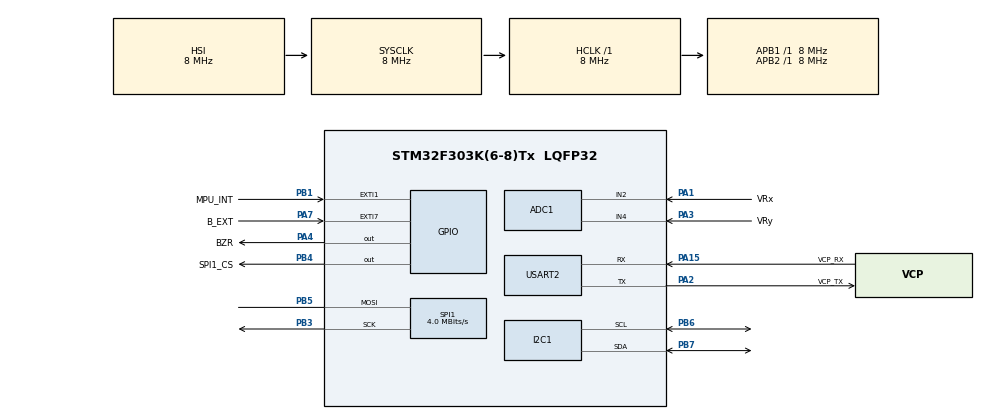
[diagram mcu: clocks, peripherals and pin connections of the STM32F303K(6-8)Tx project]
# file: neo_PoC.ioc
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ADC1.Channel-3\#ChannelRegularConversion=ADC_CHANNEL_2
ADC1.Channel-4\#ChannelRegularConversion=ADC_CHANNEL_4
ADC1.ContinuousConvMode=ENABLE
ADC1.DMAContinuousRequests=ENABLE
ADC1.EOCSelection=ADC_EOC_SEQ_CONV
ADC1.EnableInjectedConversion=DISABLE
ADC1.NbrOfConversion=2
ADC1.NbrOfConversionFlag=1
ADC1.Offset-3\#ChannelRegularConversion=0
ADC1.Offset-4\#ChannelRegularConversion=0
ADC1.OffsetNumber-3\#ChannelRegularConversion=ADC_OFFSET_NONE
ADC1.OffsetNumber-4\#ChannelRegularConversion=ADC_OFFSET_NONE
ADC1.Rank-3\#ChannelRegularConversion=1
ADC1.Rank-4\#ChannelRegularConversion=2
ADC1.SamplingTime-3\#ChannelRegularConversion=ADC_SAMPLETIME_61CYCLES_5
ADC1.SamplingTime-4\#ChannelRegularConversion=ADC_SAMPLETIME_61CYCLES_5
ADC1.SamplingTimeOPAMP-4\#ChannelRegularConversion=ADC_SAMPLETIME_4CYCLES_5
ADC1.SequencerNbRanks=2
ADC1.SubFamily=STM32F303x8
ADC1.master=1
Dma.ADC1.0.Direction=DMA_PERIPH_TO_MEMORY
Dma.ADC1.0.Instance=DMA1_Channel1
Dma.ADC1.0.MemDataAlignment=DMA_MDATAALIGN_HALFWORD
Dma.ADC1.0.MemInc=DMA_MINC_ENABLE
Dma.ADC1.0.Mode=DMA_CIRCULAR
Dma.ADC1.0.PeriphDataAlignment=DMA_PDATAALIGN_HALFWORD
Dma.ADC1.0.PeriphInc=DMA_PINC_DISABLE
Dma.ADC1.0.Priority=DMA_PRIORITY_LOW
Dma.I2C1_RX.1.Direction=DMA_PERIPH_TO_MEMORY
Dma.I2C1_RX.1.Instance=DMA1_Channel3
Dma.I2C1_RX.1.MemDataAlignment=DMA_MDATAALIGN_BYTE
Dma.I2C1_RX.1.MemInc=DMA_MINC_ENABLE
Dma.I2C1_RX.1.Mode=DMA_NORMAL
Dma.I2C1_RX.1.PeriphDataAlignment=DMA_PDATAALIGN_BYTE
Dma.I2C1_RX.1.PeriphInc=DMA_PINC_DISABLE
Dma.I2C1_RX.1.Priority=DMA_PRIORITY_MEDIUM
Dma.Request0=ADC1
Dma.Request1=I2C1_RX
I2C1.Timing=0x00201D2B
Mcu.Family=STM32F3
Mcu.Name=STM32F303K(6-8)Tx
Mcu.Package=LQFP32
NVIC.DMA1_Channel3_IRQn=true\:0\:0\:false\:false\:true\:true\:true\:true
NVIC.EXTI1_IRQn=true\:0\:0\:false\:false\:true\:true\:true\:true
NVIC.I2C1_ER_IRQn=true\:0\:0\:false\:false\:true\:true\:true\:true
NVIC.I2C1_EV_IRQn=true\:0\:0\:false\:false\:true\:true\:true\:true
NVIC.PriorityGroup=NVIC_PRIORITYGROUP_4
PA1.GPIO_Label=VRx
PA1.Mode=IN2-Single-Ended
PA1.Signal=ADC1_IN2
PA13.GPIO_Label=SWDIO
PA13.Mode=Serial_Wire
PA13.Signal=SYS_JTMS-SWDIO
PA14.GPIO_Label=SWCLK
PA14.Mode=Serial_Wire
PA14.Signal=SYS_JTCK-SWCLK
PA15.GPIO_Label=VCP_RX
PA15.Mode=Asynchronous
PA15.Signal=USART2_RX
PA2.GPIO_Label=VCP_TX
PA2.Mode=Asynchronous
PA2.Signal=USART2_TX
PA3.GPIO_Label=VRy
PA3.Mode=IN4-Single-Ended
PA3.Signal=ADC1_IN4
PA4.GPIO_Label=BZR
PA4.Signal=GPIO_Output
PA7.GPIO_Label=B_EXT
PA7.Signal=GPXTI7
PB1.GPIO_Label=MPU_INT
PB1.GPIO_ModeDefaultEXTI=GPIO_MODE_IT_RISING
PB1.GPIO_PuPd=GPIO_PULLDOWN
PB1.Signal=GPXTI1
PB3.Mode=Simplex_Bidirectional_Master
PB3.Signal=SPI1_SCK
PB4.GPIO_Label=SPI1_CS
PB4.Signal=GPIO_Output
PB5.Mode=Simplex_Bidirectional_Master
PB5.Signal=SPI1_MOSI
PB6.Mode=I2C
PB6.Signal=I2C1_SCL
PB7.Mode=I2C
PB7.Signal=I2C1_SDA
PF0\ /\ OSC_IN.GPIO_Label=MCO
PF0\ /\ OSC_IN.Mode=HSE-External-Clock-Source
PF0\ /\ OSC_IN.Signal=RCC_OSC_IN
ProjectManager.HeapSize=0x200
ProjectManager.StackSize=0x400
ProjectManager.TargetToolchain=STM32CubeIDE
RCC.AHBFreq_Value=8000000
RCC.APB1Freq_Value=8000000
RCC.APB2Freq_Value=8000000
RCC.CortexFreq_Value=8000000
RCC.HSE_VALUE=8000000
RCC.HSI_VALUE=8000000
RCC.PLLMUL=RCC_PLL_MUL4
RCC.SYSCLKFreq_VALUE=8000000
SPI1.CalculateBaudRate=4.0 MBits/s
SPI1.Direction=SPI_DIRECTION_1LINE
SPI1.Mode=SPI_MODE_MASTER
SPI1.VirtualType=VM_MASTER
USART2.VirtualMode-Asynchronous=VM_ASYNC
board=NUCLEO-F303K8

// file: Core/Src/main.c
/* USER CODE BEGIN Header */
/**
  ******************************************************************************
  * @file           : main.c
  * @brief          : Main program body
  ******************************************************************************
  * @attention
  *
  * Copyright (c) 2026 STMicroelectronics.
  * All rights reserved.
  *
  * This software is licensed under terms that can be found in the LICENSE file
  * in the root directory of this software component.
  * If no LICENSE file comes with this software, it is provided AS-IS.
  *
  ******************************************************************************
  */
/* USER CODE END Header */
#include "main.h"

/* USER CODE BEGIN Includes */
#include "joystick.h"
#include "mpu6500.h"
/* USER CODE END Includes */

ADC_HandleTypeDef hadc1;
DMA_HandleTypeDef hdma_adc1;

I2C_HandleTypeDef hi2c1;
DMA_HandleTypeDef hdma_i2c1_rx;

SPI_HandleTypeDef hspi1;

UART_HandleTypeDef huart2;

/* USER CODE BEGIN PV */
joystick_t joystick;
mpu6500_t mpu;
uint32_t interrupt_count = 0;
uint32_t dma_complete = 0;
/* USER CODE END PV */

void SystemClock_Config(void);
static void MX_GPIO_Init(void);
static void MX_DMA_Init(void);
static void MX_ADC1_Init(void);
static void MX_I2C1_Init(void);
static void MX_SPI1_Init(void);
static void MX_USART2_UART_Init(void);

int main(void)
{

  /* MCU Configuration--------------------------------------------------------*/

  /* Reset of all peripherals, Initializes the Flash interface and the Systick. */
  HAL_Init();

  /* Configure the system clock */
  SystemClock_Config();

  /* Initialize all configured peripherals */
  MX_GPIO_Init();
  MX_DMA_Init();
  MX_ADC1_Init();
  MX_I2C1_Init();
  MX_SPI1_Init();
  MX_USART2_UART_Init();
  /* USER CODE BEGIN 2 */
  if (joystick_init(&joystick, &hadc1) == HAL_ERROR) { /*if joystick init fails*/
	  while(1); // halt
  }

  HAL_Delay(1000); // wait for first ADC/DMA conversion to complete before calibration

  joystick_calibrate(&joystick);

  if (mpu6500_init(&mpu, &hi2c1) != HAL_OK) {
	  while(1); // halt
  }

  /* USER CODE END 2 */

  /* Infinite loop */
  /* USER CODE BEGIN WHILE */
  while (1)
  {
	  joystick_update(&joystick);

	  if (mpu.data_ready) {
	          mpu.data_ready = 0;
	          // Run complementary filter / tilt calculations for Gravity Maze here!
	      }

	  HAL_Delay(10);
    /* USER CODE END WHILE */

  }
}

void SystemClock_Config(void)
{
  RCC_OscInitTypeDef RCC_OscInitStruct = {0};
  RCC_ClkInitTypeDef RCC_ClkInitStruct = {0};
  RCC_PeriphCLKInitTypeDef PeriphClkInit = {0};

  /** Initializes the RCC Oscillators according to the specified parameters
  * in the RCC_OscInitTypeDef structure.
  */
  RCC_OscInitStruct.OscillatorType = RCC_OSCILLATORTYPE_HSI;
  RCC_OscInitStruct.HSIState = RCC_HSI_ON;
  RCC_OscInitStruct.HSICalibrationValue = RCC_HSICALIBRATION_DEFAULT;
  RCC_OscInitStruct.PLL.PLLState = RCC_PLL_ON;
  RCC_OscInitStruct.PLL.PLLSource = RCC_PLLSOURCE_HSI;
  RCC_OscInitStruct.PLL.PLLMUL = RCC_PLL_MUL4;
  if (HAL_RCC_OscConfig(&RCC_OscInitStruct) != HAL_OK)
  {
    Error_Handler();
  }

  /** Initializes the CPU, AHB and APB buses clocks
  */
  RCC_ClkInitStruct.ClockType = RCC_CLOCKTYPE_HCLK|RCC_CLOCKTYPE_SYSCLK
                              |RCC_CLOCKTYPE_PCLK1|RCC_CLOCKTYPE_PCLK2;
  RCC_ClkInitStruct.SYSCLKSource = RCC_SYSCLKSOURCE_HSI;
  RCC_ClkInitStruct.AHBCLKDivider = RCC_SYSCLK_DIV1;
  RCC_ClkInitStruct.APB1CLKDivider = RCC_HCLK_DIV1;
  RCC_ClkInitStruct.APB2CLKDivider = RCC_HCLK_DIV1;

  if (HAL_RCC_ClockConfig(&RCC_ClkInitStruct, FLASH_LATENCY_0) != HAL_OK)
  {
    Error_Handler();
  }
  PeriphClkInit.PeriphClockSelection = RCC_PERIPHCLK_I2C1|RCC_PERIPHCLK_ADC12;
  PeriphClkInit.Adc12ClockSelection = RCC_ADC12PLLCLK_DIV1;
  PeriphClkInit.I2c1ClockSelection = RCC_I2C1CLKSOURCE_HSI;
  if (HAL_RCCEx_PeriphCLKConfig(&PeriphClkInit) != HAL_OK)
  {
    Error_Handler();
  }
}

static void MX_ADC1_Init(void)
{

  ADC_MultiModeTypeDef multimode = {0};
  ADC_ChannelConfTypeDef sConfig = {0};

  /** Common config
  */
  hadc1.Instance = ADC1;
  hadc1.Init.ClockPrescaler = ADC_CLOCK_ASYNC_DIV1;
  hadc1.Init.Resolution = ADC_RESOLUTION_12B;
  hadc1.Init.ScanConvMode = ADC_SCAN_ENABLE;
  hadc1.Init.ContinuousConvMode = ENABLE;
  hadc1.Init.DiscontinuousConvMode = DISABLE;
  hadc1.Init.ExternalTrigConvEdge = ADC_EXTERNALTRIGCONVEDGE_NONE;
  hadc1.Init.ExternalTrigConv = ADC_SOFTWARE_START;
  hadc1.Init.DataAlign = ADC_DATAALIGN_RIGHT;
  hadc1.Init.NbrOfConversion = 2;
  hadc1.Init.DMAContinuousRequests = ENABLE;
  hadc1.Init.EOCSelection = ADC_EOC_SEQ_CONV;
  hadc1.Init.LowPowerAutoWait = DISABLE;
  hadc1.Init.Overrun = ADC_OVR_DATA_OVERWRITTEN;
  if (HAL_ADC_Init(&hadc1) != HAL_OK)
  {
    Error_Handler();
  }

  /** Configure the ADC multi-mode
  */
  multimode.Mode = ADC_MODE_INDEPENDENT;
  if (HAL_ADCEx_MultiModeConfigChannel(&hadc1, &multimode) != HAL_OK)
  {
    Error_Handler();
  }

  /** Configure Regular Channel
  */
  sConfig.Channel = ADC_CHANNEL_2;
  sConfig.Rank = ADC_REGULAR_RANK_1;
  sConfig.SingleDiff = ADC_SINGLE_ENDED;
  sConfig.SamplingTime = ADC_SAMPLETIME_61CYCLES_5;
  sConfig.OffsetNumber = ADC_OFFSET_NONE;
  sConfig.Offset = 0;
  if (HAL_ADC_ConfigChannel(&hadc1, &sConfig) != HAL_OK)
  {
    Error_Handler();
  }

  /** Configure Regular Channel
  */
  sConfig.Channel = ADC_CHANNEL_4;
  sConfig.Rank = ADC_REGULAR_RANK_2;
  if (HAL_ADC_ConfigChannel(&hadc1, &sConfig) != HAL_OK)
  {
    Error_Handler();
  }

}

static void MX_I2C1_Init(void)
{

  hi2c1.Instance = I2C1;
  hi2c1.Init.Timing = 0x00201D2B;
  hi2c1.Init.OwnAddress1 = 0;
  hi2c1.Init.AddressingMode = I2C_ADDRESSINGMODE_7BIT;
  hi2c1.Init.DualAddressMode = I2C_DUALADDRESS_DISABLE;
  hi2c1.Init.OwnAddress2 = 0;
  hi2c1.Init.OwnAddress2Masks = I2C_OA2_NOMASK;
  hi2c1.Init.GeneralCallMode = I2C_GENERALCALL_DISABLE;
  hi2c1.Init.NoStretchMode = I2C_NOSTRETCH_DISABLE;
  if (HAL_I2C_Init(&hi2c1) != HAL_OK)
  {
    Error_Handler();
  }

  /** Configure Analogue filter
  */
  if (HAL_I2CEx_ConfigAnalogFilter(&hi2c1, I2C_ANALOGFILTER_ENABLE) != HAL_OK)
  {
    Error_Handler();
  }

  /** Configure Digital filter
  */
  if (HAL_I2CEx_ConfigDigitalFilter(&hi2c1, 0) != HAL_OK)
  {
    Error_Handler();
  }

}

static void MX_SPI1_Init(void)
{

  /* SPI1 parameter configuration*/
  hspi1.Instance = SPI1;
  hspi1.Init.Mode = SPI_MODE_MASTER;
  hspi1.Init.Direction = SPI_DIRECTION_1LINE;
  hspi1.Init.DataSize = SPI_DATASIZE_4BIT;
  hspi1.Init.CLKPolarity = SPI_POLARITY_LOW;
  hspi1.Init.CLKPhase = SPI_PHASE_1EDGE;
  hspi1.Init.NSS = SPI_NSS_SOFT;
  hspi1.Init.BaudRatePrescaler = SPI_BAUDRATEPRESCALER_2;
  hspi1.Init.FirstBit = SPI_FIRSTBIT_MSB;
  hspi1.Init.TIMode = SPI_TIMODE_DISABLE;
  hspi1.Init.CRCCalculation = SPI_CRCCALCULATION_DISABLE;
  hspi1.Init.CRCPolynomial = 7;
  hspi1.Init.CRCLength = SPI_CRC_LENGTH_DATASIZE;
  hspi1.Init.NSSPMode = SPI_NSS_PULSE_ENABLE;
  if (HAL_SPI_Init(&hspi1) != HAL_OK)
  {
    Error_Handler();
  }

}

static void MX_USART2_UART_Init(void)
{

  huart2.Instance = USART2;
  huart2.Init.BaudRate = 38400;
  huart2.Init.WordLength = UART_WORDLENGTH_8B;
  huart2.Init.StopBits = UART_STOPBITS_1;
  huart2.Init.Parity = UART_PARITY_NONE;
  huart2.Init.Mode = UART_MODE_TX_RX;
  huart2.Init.HwFlowCtl = UART_HWCONTROL_NONE;
  huart2.Init.OverSampling = UART_OVERSAMPLING_16;
  huart2.Init.OneBitSampling = UART_ONE_BIT_SAMPLE_DISABLE;
  huart2.AdvancedInit.AdvFeatureInit = UART_ADVFEATURE_NO_INIT;
  if (HAL_UART_Init(&huart2) != HAL_OK)
  {
    Error_Handler();
  }

}

static void MX_DMA_Init(void)
{

  /* DMA controller clock enable */
  __HAL_RCC_DMA1_CLK_ENABLE();

  /* DMA interrupt init */
  /* DMA1_Channel3_IRQn interrupt configuration */
  HAL_NVIC_SetPriority(DMA1_Channel3_IRQn, 0, 0);
  HAL_NVIC_EnableIRQ(DMA1_Channel3_IRQn);

}

static void MX_GPIO_Init(void)
{
  GPIO_InitTypeDef GPIO_InitStruct = {0};

  /* GPIO Ports Clock Enable */
  __HAL_RCC_GPIOF_CLK_ENABLE();
  __HAL_RCC_GPIOA_CLK_ENABLE();
  __HAL_RCC_GPIOB_CLK_ENABLE();

  /*Configure GPIO pin Output Level */
  HAL_GPIO_WritePin(BZR_GPIO_Port, BZR_Pin, GPIO_PIN_RESET);

  /*Configure GPIO pin Output Level */
  HAL_GPIO_WritePin(SPI1_CS_GPIO_Port, SPI1_CS_Pin, GPIO_PIN_RESET);

  /*Configure GPIO pin : BZR_Pin */
  GPIO_InitStruct.Pin = BZR_Pin;
  GPIO_InitStruct.Mode = GPIO_MODE_OUTPUT_PP;
  GPIO_InitStruct.Pull = GPIO_NOPULL;
  GPIO_InitStruct.Speed = GPIO_SPEED_FREQ_LOW;
  HAL_GPIO_Init(BZR_GPIO_Port, &GPIO_InitStruct);

  /*Configure GPIO pin : B_EXT_Pin */
  GPIO_InitStruct.Pin = B_EXT_Pin;
  GPIO_InitStruct.Mode = GPIO_MODE_IT_RISING;
  GPIO_InitStruct.Pull = GPIO_NOPULL;
  HAL_GPIO_Init(B_EXT_GPIO_Port, &GPIO_InitStruct);

  /*Configure GPIO pin : MPU_INT_Pin */
  GPIO_InitStruct.Pin = MPU_INT_Pin;
  GPIO_InitStruct.Mode = GPIO_MODE_IT_RISING;
  GPIO_InitStruct.Pull = GPIO_PULLDOWN;
  HAL_GPIO_Init(MPU_INT_GPIO_Port, &GPIO_InitStruct);

  /*Configure GPIO pin : SPI1_CS_Pin */
  GPIO_InitStruct.Pin = SPI1_CS_Pin;
  GPIO_InitStruct.Mode = GPIO_MODE_OUTPUT_PP;
  GPIO_InitStruct.Pull = GPIO_NOPULL;
  GPIO_InitStruct.Speed = GPIO_SPEED_FREQ_LOW;
  HAL_GPIO_Init(SPI1_CS_GPIO_Port, &GPIO_InitStruct);

  /* EXTI interrupt init*/
  HAL_NVIC_SetPriority(EXTI1_IRQn, 0, 0);
  HAL_NVIC_EnableIRQ(EXTI1_IRQn);

}

/* USER CODE BEGIN 4 */

/**
  * @brief EXTI GPIO Callback (MPU6500 INT pin firing)
  */
void HAL_GPIO_EXTI_Callback(uint16_t GPIO_Pin) {
    if (GPIO_Pin == MPU_INT_Pin) {
        mpu6500_on_gpio_interrupt(&mpu);
        interrupt_count++;
    }
}

/**
  * @brief I2C DMA Transfer Complete Callback
  */
void HAL_I2C_MemRxCpltCallback(I2C_HandleTypeDef *hi2c) {
    if (hi2c->Instance == I2C1) {
        mpu6500_on_dma_complete(&mpu);
    }
    dma_complete++;
}

/**
  * @brief I2C Error Callback
  */
void HAL_I2C_ErrorCallback(I2C_HandleTypeDef *hi2c) {
    if (hi2c->Instance == I2C1) {
        mpu.dma_busy = 0; // Reset flag so next EXTI can retry
        HAL_NVIC_EnableIRQ(EXTI1_IRQn);
    }
}

/* USER CODE END 4 */

void Error_Handler(void)
{
  __disable_irq();
  while (1)
  {
  }
}
